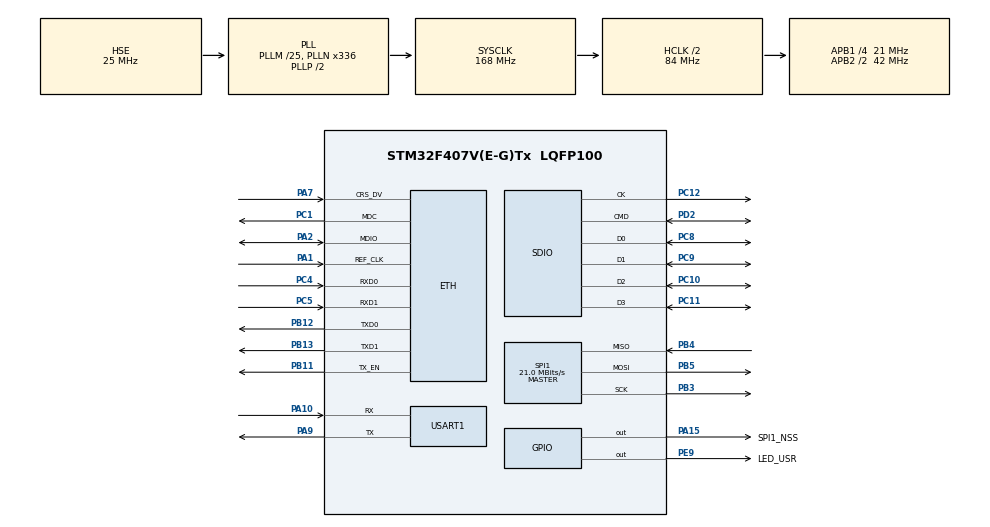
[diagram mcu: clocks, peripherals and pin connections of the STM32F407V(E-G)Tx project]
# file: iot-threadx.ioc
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ETH.MACAddr=00\:08\:DC\:00\:00\:00
ETH.MediaInterface=HAL_ETH_RMII_MODE
ETH.RxMode=ETH_RXPOLLING_MODE
Mcu.Family=STM32F4
Mcu.Name=STM32F407V(E-G)Tx
Mcu.Package=LQFP100
NVIC.PriorityGroup=NVIC_PRIORITYGROUP_4
NVIC.TIM8_TRG_COM_TIM14_IRQn=true\:15\:0\:false\:false\:true\:false\:false\:true\:true
NVIC.TimeBase=TIM8_TRG_COM_TIM14_IRQn
NVIC.TimeBaseIP=TIM14
PA1.Mode=RMII
PA1.Signal=ETH_REF_CLK
PA10.Mode=Asynchronous
PA10.Signal=USART1_RX
PA13.Mode=Serial_Wire
PA13.Signal=SYS_JTMS-SWDIO
PA14.Mode=Serial_Wire
PA14.Signal=SYS_JTCK-SWCLK
PA15.GPIO_Label=SPI1_NSS
PA15.PinState=GPIO_PIN_SET
PA15.Signal=GPIO_Output
PA2.Mode=RMII
PA2.Signal=ETH_MDIO
PA7.Mode=RMII
PA7.Signal=ETH_CRS_DV
PA9.Mode=Asynchronous
PA9.Signal=USART1_TX
PB11.Mode=RMII
PB11.Signal=ETH_TX_EN
PB12.Mode=RMII
PB12.Signal=ETH_TXD0
PB13.Mode=RMII
PB13.Signal=ETH_TXD1
PB3.Mode=Full_Duplex_Master
PB3.Signal=SPI1_SCK
PB4.Mode=Full_Duplex_Master
PB4.Signal=SPI1_MISO
PB5.Mode=Full_Duplex_Master
PB5.Signal=SPI1_MOSI
PC1.Mode=RMII
PC1.Signal=ETH_MDC
PC10.GPIO_PuPd=GPIO_PULLUP
PC10.Mode=SD_4_bits_Wide_bus
PC10.Signal=SDIO_D2
PC11.GPIO_PuPd=GPIO_PULLUP
PC11.Mode=SD_4_bits_Wide_bus
PC11.Signal=SDIO_D3
PC12.Mode=SD_4_bits_Wide_bus
PC12.Signal=SDIO_CK
PC14-OSC32_IN.Mode=LSE-External-Oscillator
PC14-OSC32_IN.Signal=RCC_OSC32_IN
PC15-OSC32_OUT.Mode=LSE-External-Oscillator
PC15-OSC32_OUT.Signal=RCC_OSC32_OUT
PC4.Mode=RMII
PC4.Signal=ETH_RXD0
PC5.Mode=RMII
PC5.Signal=ETH_RXD1
PC8.GPIO_PuPd=GPIO_PULLUP
PC8.Mode=SD_4_bits_Wide_bus
PC8.Signal=SDIO_D0
PC9.GPIO_PuPd=GPIO_PULLUP
PC9.Mode=SD_4_bits_Wide_bus
PC9.Signal=SDIO_D1
PD2.GPIO_PuPd=GPIO_PULLUP
PD2.Mode=SD_4_bits_Wide_bus
PD2.Signal=SDIO_CMD
PE9.GPIO_Label=LED_USR
PE9.Signal=GPIO_Output
PH0-OSC_IN.Mode=HSE-External-Oscillator
PH0-OSC_IN.Signal=RCC_OSC_IN
PH1-OSC_OUT.Mode=HSE-External-Oscillator
PH1-OSC_OUT.Signal=RCC_OSC_OUT
ProjectManager.HeapSize=0x2000
ProjectManager.StackSize=0x4000
ProjectManager.TargetToolchain=CMake
RCC.48MHZClocksFreq_Value=48000000
RCC.AHBCLKDivider=RCC_SYSCLK_DIV2
RCC.AHBFreq_Value=84000000
RCC.APB1CLKDivider=RCC_HCLK_DIV4
RCC.APB1Freq_Value=21000000
RCC.APB1TimFreq_Value=42000000
RCC.APB2CLKDivider=RCC_HCLK_DIV2
RCC.APB2Freq_Value=42000000
RCC.APB2TimFreq_Value=84000000
RCC.CortexFreq_Value=84000000
RCC.HCLKFreq_Value=84000000
RCC.HSE_VALUE=25000000
RCC.HSI_VALUE=16000000
RCC.PLLM=25
RCC.PLLN=336
RCC.PLLQ=7
RCC.PLLSourceVirtual=RCC_PLLSOURCE_HSE
RCC.RCC_RTC_Clock_Source=RCC_RTCCLKSOURCE_LSE
RCC.RCC_RTC_Clock_SourceVirtual=RCC_RTCCLKSOURCE_LSE
RCC.SYSCLKFreq_VALUE=168000000
RCC.SYSCLKSource=RCC_SYSCLKSOURCE_PLLCLK
RCC.VCOOutputFreq_Value=336000000
SDIO.ClockDiv=0
SPI1.CalculateBaudRate=21.0 MBits/s
SPI1.Direction=SPI_DIRECTION_2LINES
SPI1.Mode=SPI_MODE_MASTER
SPI1.VirtualType=VM_MASTER
STMicroelectronics.X-CUBE-AZRTOS-F4.1.1.0.FileXCcFileOoSystemJjFileXJjCore=true
STMicroelectronics.X-CUBE-AZRTOS-F4.1.1.0.FileXCcFileOoSystemJjFileXJjTraceXOoSupport=true
STMicroelectronics.X-CUBE-AZRTOS-F4.1.1.0.InterfacesCcFileOoSystemJjFileXOoCustomOointerface=true
STMicroelectronics.X-CUBE-AZRTOS-F4.1.1.0.InterfacesCcFileOoSystemJjFileXOoInternalOoRAMOointerface=true
STMicroelectronics.X-CUBE-AZRTOS-F4.1.1.0.InterfacesCcFileOoSystemJjFileXOoLevelXOoNANDOointerface=true
STMicroelectronics.X-CUBE-AZRTOS-F4.1.1.0.InterfacesCcFileOoSystemJjFileXOoLevelXOoNOROoOointerface=true
STMicroelectronics.X-CUBE-AZRTOS-F4.1.1.0.InterfacesCcFileOoSystemJjFileXOoSDOointerface=true
STMicroelectronics.X-CUBE-AZRTOS-F4.1.1.0.InterfacesCcFileOoSystemJjLevelXOoNANDOoSimulatorOointerface=true
STMicroelectronics.X-CUBE-AZRTOS-F4.1.1.0.InterfacesCcFileOoSystemJjLevelXOoNANDOocustomOointerface=true
STMicroelectronics.X-CUBE-AZRTOS-F4.1.1.0.InterfacesCcFileOoSystemJjLevelXOoNOROoSimulatorOointerface=true
STMicroelectronics.X-CUBE-AZRTOS-F4.1.1.0.InterfacesCcFileOoSystemJjLevelXOoNOROocustomOointerface=true
STMicroelectronics.X-CUBE-AZRTOS-F4.1.1.0.InterfacesCcNetworkJjCustomOoInterface=true
STMicroelectronics.X-CUBE-AZRTOS-F4.1.1.0.InterfacesCcNetworkJjEthernetOoInterface=true
STMicroelectronics.X-CUBE-AZRTOS-F4.1.1.0.InterfacesCcNetworkJjEthernetOoPhyOoInterface=LAN8742IiPhyIiInterface
STMicroelectronics.X-CUBE-AZRTOS-F4.1.1.0.LevelXCcFileOoSystemJjLevelXJjNANDOoFlashOoSupport=true
STMicroelectronics.X-CUBE-AZRTOS-F4.1.1.0.LevelXCcFileOoSystemJjLevelXJjNOROoFlashOoSupport=true
STMicroelectronics.X-CUBE-AZRTOS-F4.1.1.0.NX_ENABLE_INTERFACE_CAPABILITY=false
STMicroelectronics.X-CUBE-AZRTOS-F4.1.1.0.NetXDuoCcNetworkJjNetXDuoJjAddonsOoAutoIP=true
STMicroelectronics.X-CUBE-AZRTOS-F4.1.1.0.NetXDuoCcNetworkJjNetXDuoJjAddonsOoCloud=true
STMicroelectronics.X-CUBE-AZRTOS-F4.1.1.0.NetXDuoCcNetworkJjNetXDuoJjAddonsOoDHCPOoClient=true
STMicroelectronics.X-CUBE-AZRTOS-F4.1.1.0.NetXDuoCcNetworkJjNetXDuoJjAddonsOoDNS=true
STMicroelectronics.X-CUBE-AZRTOS-F4.1.1.0.NetXDuoCcNetworkJjNetXDuoJjAddonsOoMQTT=true
STMicroelectronics.X-CUBE-AZRTOS-F4.1.1.0.NetXDuoCcNetworkJjNetXDuoJjAddonsOoPPP=true
STMicroelectronics.X-CUBE-AZRTOS-F4.1.1.0.NetXDuoCcNetworkJjNetXDuoJjAddonsOoSNTP=true
STMicroelectronics.X-CUBE-AZRTOS-F4.1.1.0.NetXDuoCcNetworkJjNetXDuoJjAddonsOoWebOoServer=true
STMicroelectronics.X-CUBE-AZRTOS-F4.1.1.0.NetXDuoCcNetworkJjNetXDuoJjAddonsOomDNS=true
STMicroelectronics.X-CUBE-AZRTOS-F4.1.1.0.NetXDuoCcNetworkJjNetXDuoJjCrypto=true
STMicroelectronics.X-CUBE-AZRTOS-F4.1.1.0.NetXDuoCcNetworkJjNetXDuoJjNXOoCore=true
STMicroelectronics.X-CUBE-AZRTOS-F4.1.1.0.NetXDuoCcNetworkJjNetXDuoJjTLS=true
STMicroelectronics.X-CUBE-AZRTOS-F4.1.1.0.NetXDuoCcNetworkJjNetXDuoJjTraceXOoSupport=true
STMicroelectronics.X-CUBE-AZRTOS-F4.1.1.0.STM32CubeIiBSPIiComponentsCcBoardOoPartJjETHPhyJjLAN8742=true
STMicroelectronics.X-CUBE-AZRTOS-F4.1.1.0.ThreadXCcRTOSJjThreadXJjCore=true
STMicroelectronics.X-CUBE-AZRTOS-F4.1.1.0.ThreadXCcRTOSJjThreadXJjLowOoPowerOosupport=true
STMicroelectronics.X-CUBE-AZRTOS-F4.1.1.0.ThreadXCcRTOSJjThreadXJjPerformanceInfo=true
STMicroelectronics.X-CUBE-AZRTOS-F4.1.1.0.ThreadXCcRTOSJjThreadXJjTraceXOosupport=true
STMicroelectronics.X-CUBE-AZRTOS-F4.1.1.0_IsAnAzureRtosMw=true
TIM1.Period=999
TIM1.Prescaler=839
USART1.VirtualMode=VM_ASYNC
VP_STMicroelectronics.X-CUBE-AZRTOS-F4_VS_BoardOoPartJjSTM32CubeIiBSPIiComponents_1.1.0_1.1.0.Mode=BoardOoPartJjSTM32CubeIiBSPIiComponents
VP_STMicroelectronics.X-CUBE-AZRTOS-F4_VS_FileOoSystemJjFileX_6.1.10_1.1.0.Mode=FileOoSystemJjFileX
VP_STMicroelectronics.X-CUBE-AZRTOS-F4_VS_FileOoSystemJjInterfaces_2.1.0_1.1.0.Mode=FileOoSystemJjInterfaces
VP_STMicroelectronics.X-CUBE-AZRTOS-F4_VS_FileOoSystemJjLevelX_6.1.10_1.1.0.Mode=FileOoSystemJjLevelX
VP_STMicroelectronics.X-CUBE-AZRTOS-F4_VS_NetworkJjInterfaces_2.1.0_1.1.0.Mode=NetworkJjInterfaces
VP_STMicroelectronics.X-CUBE-AZRTOS-F4_VS_NetworkJjNetXDuo_6.1.10_1.1.0.Mode=NetworkJjNetXDuo
VP_STMicroelectronics.X-CUBE-AZRTOS-F4_VS_RTOSJjThreadX_6.1.10_1.1.0.Mode=RTOSJjThreadX
VP_SYS_VS_tim14.Mode=TIM14
VP_TIM1_VS_ClockSourceINT.Mode=Internal
board=custom

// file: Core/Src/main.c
/* USER CODE BEGIN Header */
/**
 ******************************************************************************
 * @file           : main.c
 * @brief          : Main program body
 ******************************************************************************
 * @attention
 *
 * Copyright (c) 2025 STMicroelectronics.
 * All rights reserved.
 *
 * This software is licensed under terms that can be found in the LICENSE file
 * in the root directory of this software component.
 * If no LICENSE file comes with this software, it is provided AS-IS.
 *
 ******************************************************************************
 */
/* USER CODE END Header */
#include "main.h"

#include "app_threadx.h"
#include "eth.h"
#include "gpio.h"
#include "sdio.h"
#include "spi.h"
#include "tim.h"
#include "usart.h"

/* USER CODE BEGIN Includes */
#include <stdio.h>
/* USER CODE END Includes */

/* USER CODE BEGIN PM */

// Re-targets the C library printf function to the VCOM
#if defined(__GNUC__) && !defined(__clang__)
#define PUTCHAR_PROTOTYPE int __io_putchar(int ch)
#endif

PUTCHAR_PROTOTYPE {
    HAL_UART_Transmit(&huart1, (uint8_t*)&ch, 1, 0xFFFF);
    return ch;
}

#if (defined(__GNUC__) && !defined(__clang__)) || (defined(__ICCARM__))
#if defined(__GNUC__) && !defined(__clang__)
/**
 * Redirect the "printf" function to UART1
 * @param[in] file: file descriptor
 * @param[in] ptr: pointer to the string to transmit
 * @param[in] len: length of the string
 */
int _write(int file, char* ptr, int len)
#endif
{
    (void)file;
    HAL_UART_Transmit(&huart1, (uint8_t*)ptr, len, 0xFFFF);
    return len;
}
#endif

/* USER CODE END PM */

void SystemClock_Config(void);

int main(void) {

    /* MCU
     * Configuration--------------------------------------------------------*/

    /* Reset of all peripherals, Initializes the Flash interface and the
     * Systick.
     */
    HAL_Init();

    /* Configure the system clock */
    SystemClock_Config();

    /* Initialize all configured peripherals */
    MX_GPIO_Init();
    MX_SPI1_Init();
    MX_ETH_Init();
    MX_SDIO_SD_Init();
    MX_TIM1_Init();
    MX_USART1_UART_Init();
    /* USER CODE BEGIN 2 */

#if defined(__GNUC__) && !defined(__clang__)
    // turn buffering off - stdout is the USART peripheral
    setvbuf(stdout, NULL, _IONBF, 0);
#endif

    // HAL_GPIO_WritePin(LED_USR_GPIO_Port, LED_USR_Pin, GPIO_PIN_SET);
    // HAL_GPIO_WritePin(LED_USR_GPIO_Port, LED_USR_Pin, GPIO_PIN_RESET);

    printf("Hello World!\r\n");
    /* USER CODE END 2 */

    MX_ThreadX_Init();

    /* We should never get here as control is now taken by the scheduler */

    /* Infinite loop */
    while (1) {

    }
}

void SystemClock_Config(void) {
    RCC_OscInitTypeDef RCC_OscInitStruct = {0};
    RCC_ClkInitTypeDef RCC_ClkInitStruct = {0};

    /** Configure the main internal regulator output voltage
     */
    __HAL_RCC_PWR_CLK_ENABLE();
    __HAL_PWR_VOLTAGESCALING_CONFIG(PWR_REGULATOR_VOLTAGE_SCALE1);

    /** Initializes the RCC Oscillators according to the specified parameters
     * in the RCC_OscInitTypeDef structure.
     */
    RCC_OscInitStruct.OscillatorType = RCC_OSCILLATORTYPE_HSE;
    RCC_OscInitStruct.HSEState = RCC_HSE_ON;
    RCC_OscInitStruct.PLL.PLLState = RCC_PLL_ON;
    RCC_OscInitStruct.PLL.PLLSource = RCC_PLLSOURCE_HSE;
    RCC_OscInitStruct.PLL.PLLM = 25;
    RCC_OscInitStruct.PLL.PLLN = 336;
    RCC_OscInitStruct.PLL.PLLP = RCC_PLLP_DIV2;
    RCC_OscInitStruct.PLL.PLLQ = 7;
    if (HAL_RCC_OscConfig(&RCC_OscInitStruct) != HAL_OK) {
        Error_Handler();
    }

    /** Initializes the CPU, AHB and APB buses clocks
     */
    RCC_ClkInitStruct.ClockType = RCC_CLOCKTYPE_HCLK | RCC_CLOCKTYPE_SYSCLK |
                                  RCC_CLOCKTYPE_PCLK1 | RCC_CLOCKTYPE_PCLK2;
    RCC_ClkInitStruct.SYSCLKSource = RCC_SYSCLKSOURCE_PLLCLK;
    RCC_ClkInitStruct.AHBCLKDivider = RCC_SYSCLK_DIV2;
    RCC_ClkInitStruct.APB1CLKDivider = RCC_HCLK_DIV4;
    RCC_ClkInitStruct.APB2CLKDivider = RCC_HCLK_DIV2;

    if (HAL_RCC_ClockConfig(&RCC_ClkInitStruct, FLASH_LATENCY_2) != HAL_OK) {
        Error_Handler();
    }
}

/* USER CODE BEGIN 4 */

/**
 * @brief  This function is executed in case of success.
 * @retval None
 */
void Success_Handler(void) {
    /* USER CODE BEGIN Success_Handler_Debug */
    HAL_GPIO_TogglePin(LED_USR_GPIO_Port, LED_USR_Pin);
    while (1) {
        HAL_GPIO_TogglePin(LED_USR_GPIO_Port, LED_USR_Pin);
        tx_thread_sleep(50);
    }
    /* USER CODE END Success_Handler_Debug */
}

/* USER CODE END 4 */

void HAL_TIM_PeriodElapsedCallback(TIM_HandleTypeDef* htim) {
    if (htim->Instance == TIM14) {
        HAL_IncTick();
    }
}

void Error_Handler(void) {
    /* USER CODE BEGIN Error_Handler_Debug */
    /* User can add his own implementation to report the HAL error return state
     */
    __disable_irq();
    while (1) {
    }
    /* USER CODE END Error_Handler_Debug */
}
#ifdef USE_FULL_ASSERT
/**
 * @brief  Reports the name of the source file and the source line number
 *         where the assert_param error has occurred.
 * @param  file: pointer to the source file name
 * @param  line: assert_param error line source number
 * @retval None
 */
void assert_failed(uint8_t* file, uint32_t line) {
    /* USER CODE BEGIN 6 */
    /* User can add his own implementation to report the file name and line
       number, ex: printf("Wrong parameters value: file %s on line %d\r\n",
       file, line) */
    /* USER CODE END 6 */
}
#endif /* USE_FULL_ASSERT */
